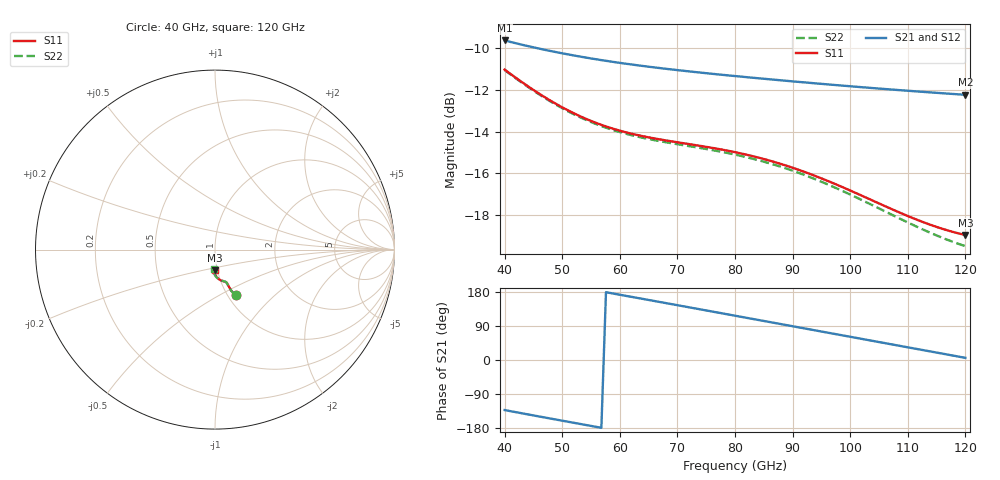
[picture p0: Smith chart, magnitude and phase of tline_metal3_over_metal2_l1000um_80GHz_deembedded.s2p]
! Created with skrf 2.0.1 (http://scikit-rf.org).
# GHz S DB R 50.0
!freq dBS11 angS11 dBS21 angS21 dBS12 angS12 dBS22 angS22
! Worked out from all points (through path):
!   101 points, 40 GHz to 120 GHz, reference 50 ohm
!   highest |S21| = -9.65 dB at 40 GHz (marker M1); lowest = -12.2 dB at 120 GHz (marker M2)
!   group delay of S21, straight-line fit = 7.71 ps
!   lowest |S11| = -18.9 dB at 120 GHz (marker M3), VSWR 1.25, Z = 48.9 - j11.2 ohm
!   |S11| at or under -10 dB: start of sweep to end of sweep
!   |S22| runs from -19.5 to -11.1 dB; largest |S21 - S12| = 3.4e-13
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40  -11.04 -65.8  -9.65 -132.1  -9.65 -132.1  -11.07 -65.9
43.2  -11.68 -67.4  -9.87 -141.2  -9.87 -141.2  -11.71 -67.5
46.4  -12.26 -68.4  -10.07 -150.1  -10.07 -150.1  -12.30 -68.6
49.6  -12.78 -69.1  -10.24 -159.0  -10.24 -159.0  -12.83 -69.4
53.6  -13.33 -69.6  -10.45 -170.1  -10.45 -170.1  -13.38 -69.9
56.8  -13.68 -69.9  -10.59 -179.0  -10.59 -179.0  -13.74 -70.2
60  -13.96 -70.1  -10.72 172.2  -10.72 172.2  -14.03 -70.5
63.2  -14.18 -70.6  -10.84 163.4  -10.84 163.4  -14.25 -71.0
67.2  -14.39 -71.5  -10.98 152.4  -10.98 152.4  -14.47 -72.0
73.6  -14.67 -73.9  -11.18 134.7  -11.18 134.7  -14.77 -74.5
76.8  -14.82 -75.5  -11.27 125.8  -11.27 125.8  -14.92 -76.2
80  -14.98 -77.3  -11.35 116.9  -11.35 116.9  -15.10 -78.1
83.2  -15.18 -79.2  -11.44 108.0  -11.44 108.0  -15.31 -80.1
86.4  -15.42 -81.2  -11.52 99.1  -11.52 99.1  -15.55 -82.3
89.6  -15.69 -83.2  -11.60 90.2  -11.60 90.2  -15.83 -84.4
93.6  -16.08 -85.5  -11.69 79.1  -11.69 79.1  -16.24 -86.9
96.8  -16.44 -87.1  -11.77 70.2  -11.77 70.2  -16.61 -88.8
100  -16.81 -88.5  -11.84 61.3  -11.84 61.3  -17.01 -90.4
107.2  -17.70 -90.3  -12.00 41.3  -12.00 41.3  -17.97 -92.9
113.6  -18.42 -90.4  -12.13 23.5  -12.13 23.5  -18.79 -93.7
116.8  -18.71 -89.9  -12.19 14.6  -12.19 14.6  -19.16 -93.5
120  -18.94 -89.3  -12.25 5.7  -12.25 5.7  -19.47 -93.2
